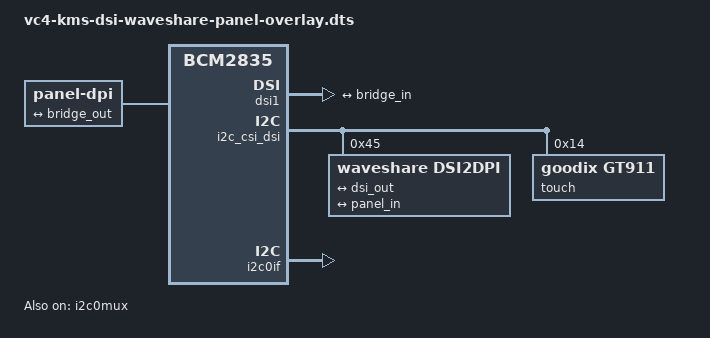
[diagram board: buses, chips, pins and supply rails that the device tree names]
/*
 * Device Tree overlay for Waveshare DSI Touchscreens
 *
 */

/dts-v1/;
/plugin/;

/ {
	compatible = "brcm,bcm2835";

	dsi_frag: fragment@0 {
		target = <&dsi1>;
		__overlay__ {
			#address-cells = <1>;
			#size-cells = <0>;
			status = "okay";
			port {
				dsi_out: endpoint {
					remote-endpoint = <&bridge_in>;
				};
			};
		};
	};

	fragment@1 {
		target-path = "/";
		__overlay__ {
		};
	};

	i2c_frag: fragment@2 {
		target = <&i2c_csi_dsi>;
		__overlay__ {
			#address-cells = <1>;
			#size-cells = <0>;
			status = "okay";

			dsi2dpi: bridge@45 {
				reg = <0x45>;
				compatible = "waveshare,dsi2dpi";

				ports {
					#address-cells = <1>;
					#size-cells = <0>;

					port@0 {
						reg = <0>;
						bridge_in: endpoint {
							remote-endpoint = <&dsi_out>;
							data-lanes = < 1 2 >;
						};
					};
					port@1 {
						reg = <1>;
						bridge_out: endpoint {
							remote-endpoint = <&panel_in>;
						};
					};
				};
			};

			touch: goodix@14 {
				reg = <0x14>;
				compatible = "goodix,gt911";
			};

			touch2: ilitek@41 {
				compatible = "ilitek,ili251x";
				reg = <0x41>;
				status = "disabled";
			};
		};
	};

	fragment@3 {
		target = <&i2c0if>;
		__overlay__ {
			status = "okay";
		};
	};

	fragment@4 {
		target = <&i2c0mux>;
		__overlay__ {
			status = "okay";
		};
	};

	fragment@5 {
		target = <&i2c_arm>;
		__dormant__ {
			status = "okay";
		};
	};

	fragment@6 {
		target-path = "/";
		__overlay__ {
			panel: panel@1 {
				#address-cells = <1>;
				#size-cells = <0>;
				reg = <1>;

				compatible = "panel-dpi";

				//backlight = <&dsi2dpi>;
				// Can't define the backlight as that causes a
				// circular dependency (backlight is required by
				// panel-simple, created by waveshare-dsi2dpi,
				// but dsi2dpi needs to be able to find the
				// panel during probe)
				rotation = <0>;
				bus-format = <0x100a>;

				port {
					panel_in: endpoint {
						remote-endpoint = <&bridge_out>;
					};
				};
			};
		};
	};

	fragment@7 {
		target = <&bridge_in>;
		__dormant__ {
			data-lanes = < 1 2 3 4 >;
		};
	};

	fragment@10 {
		/* 2.8inch 480x640
		 * https://www.waveshare.com/product/raspberry-pi/displays/2.8inch-dsi-lcd.htm
		 */
		target = <&panel>;
		__dormant__ {
			panel-timing {
				clock-frequency = <50000000>;
				hactive = <480>;
				hfront-porch = <150>;
				hsync-len = <50>;
				hback-porch = <150>;
				vactive = <640>;
				vfront-porch = <150>;
				vsync-len = <50>;
				vback-porch = <150>;

				hsync-active = <0>;
				vsync-active = <0>;
				de-active = <1>;
				pixelclk-active = <1>;
			};
		};
	};

	fragment@11 {
		/* 3.4inch 800x800 Round
		 * https://www.waveshare.com/product/displays/lcd-oled/3.4inch-dsi-lcd-c.htm
		 */
		target = <&panel>;
		__dormant__ {
			panel-timing {
				clock-frequency = <50000000>;
				hactive = <800>;
				hfront-porch = <32>;
				hsync-len = <6>;
				hback-porch = <120>;
				vactive = <800>;
				vfront-porch = <8>;
				vsync-len = <4>;
				vback-porch = <16>;

				hsync-active = <0>;
				vsync-active = <0>;
				de-active = <1>;
				pixelclk-active = <1>;
			};
		};
	};

	fragment@12 {
		/* 4.0inch 480x800
		 * https://www.waveshare.com/product/raspberry-pi/displays/4inch-dsi-lcd.htm
		 */
		target = <&panel>;
		__dormant__ {
			panel-timing {
				clock-frequency = <50000000>;
				hactive = <480>;
				hfront-porch = <150>;
				hsync-len = <100>;
				hback-porch = <150>;
				vactive = <800>;
				vfront-porch = <20>;
				vsync-len = <100>;
				vback-porch = <20>;

				hsync-active = <0>;
				vsync-active = <0>;
				de-active = <1>;
				pixelclk-active = <1>;
			};
		};
	};

	fragment@13 {
		/* 7.0inch C 1024x600
		 * https://www.waveshare.com/product/raspberry-pi/displays/lcd-oled/7inch-dsi-lcd-c-with-case-a.htm
		 */
		target = <&panel>;
		__dormant__ {
			panel-timing {
				clock-frequency = <50000000>;
				hactive = <1024>;
				hfront-porch = <100>;
				hsync-len = <100>;
				hback-porch = <100>;
				vactive = <600>;
				vfront-porch = <10>;
				vsync-len = <10>;
				vback-porch = <10>;

				hsync-active = <0>;
				vsync-active = <0>;
				de-active = <1>;
				pixelclk-active = <1>;
			};
		};
	};

	fragment@14 {
		/* 7.9inch 400x1280
		 * https://www.waveshare.com/product/raspberry-pi/displays/7.9inch-dsi-lcd.htm
		 */
		target = <&panel>;
		__dormant__ {
			panel-timing {
				clock-frequency = <50000000>;
				hactive = <400>;
				hfront-porch = <40>;
				hsync-len = <30>;
				hback-porch = <40>;
				vactive = <1280>;
				vfront-porch = <20>;
				vsync-len = <10>;
				vback-porch = <20>;

				hsync-active = <0>;
				vsync-active = <0>;
				de-active = <1>;
				pixelclk-active = <1>;
			};
		};
	};

	fragment@15 {
		/* 8.0inch or 10.1inch 1280x800
		 * https://www.waveshare.com/product/raspberry-pi/displays/8inch-dsi-lcd-c.htm
		 * https://www.waveshare.com/product/raspberry-pi/displays/10.1inch-dsi-lcd-c.htm
		 */
		target = <&panel>;
		__dormant__ {
			panel-timing {
				clock-frequency = <50000000>;
				hactive = <1024>;
				hfront-porch = <100>;
				hsync-len = <100>;
				hback-porch = <100>;
				vactive = <600>;
				vfront-porch = <10>;
				vsync-len = <10>;
				vback-porch = <10>;

				hsync-active = <0>;
				vsync-active = <0>;
				de-active = <1>;
				pixelclk-active = <1>;
			};
		};
	};

	fragment@16 {
		/* 11.9inch 320x1480
		 * https://www.waveshare.com/product/raspberry-pi/displays/11.9inch-dsi-lcd.htm
		 */
		target = <&panel>;
		__dormant__ {
			panel-timing {
				clock-frequency = <50000000>;
				hactive = <320>;
				hfront-porch = <60>;
				hsync-len = <60>;
				hback-porch = <60>;
				vactive = <1480>;
				vfront-porch = <60>;
				vsync-len = <60>;
				vback-porch = <60>;

				hsync-active = <0>;
				vsync-active = <0>;
				de-active = <1>;
				pixelclk-active = <1>;
			};
		};
	};

	fragment@17 {
		target = <&panel>;
		__dormant__ {
			panel-timing {
				clock-frequency = <50000000>;
				hactive = <320>;
				hfront-porch = <60>;
				hsync-len = <60>;
				hback-porch = <60>;
				vactive = <1480>;
				vfront-porch = <60>;
				vsync-len = <60>;
				vback-porch = <60>;

				hsync-active = <0>;
				vsync-active = <0>;
				de-active = <1>;
				pixelclk-active = <1>;
			};
		};
	};

	fragment@18 {
		/* 5.0inch 720x1280
		 * https://www.waveshare.com/5inch-dsi-lcd-d.htm
		 */
		target = <&panel>;
		__dormant__ {
			panel-timing {
				clock-frequency = <83333333>;
				hactive = <720>;
				hfront-porch = <100>;
				hsync-len = <80>;
				hback-porch = <100>;
				vactive = <1480>;
				vfront-porch = <60>;
				vsync-len = <60>;
				vback-porch = <60>;

				hsync-active = <0>;
				vsync-active = <0>;
				de-active = <1>;
				pixelclk-active = <1>;
			};
		};
	};

	fragment@19 {
		/* 6.25inch 720x1560
		 * https://www.waveshare.com/6.25inch-dsi-lcd.htm
		 */
		target = <&panel>;
		__dormant__ {
			panel-timing {
				clock-frequency = <83333333>;
				hactive = <720>;
				hfront-porch = <50>;
				hsync-len = <50>;
				hback-porch = <50>;
				vactive = <1560>;
				vfront-porch = <20>;
				vsync-len = <20>;
				vback-porch = <20>;

				hsync-active = <0>;
				vsync-active = <0>;
				de-active = <1>;
				pixelclk-active = <1>;
			};
		};
	};

	fragment@20 {
		/* 8.8inch 480x1920
		 * https://www.waveshare.com/8.8inch-dsi-lcd.htm
		 */
		target = <&panel>;
		__dormant__ {
			panel-timing {
				clock-frequency = <83333333>;
				hactive = <480>;
				hfront-porch = <50>;
				hsync-len = <50>;
				hback-porch = <50>;
				vactive = <1920>;
				vfront-porch = <20>;
				vsync-len = <20>;
				vback-porch = <20>;

				hsync-active = <0>;
				vsync-active = <0>;
				de-active = <1>;
				pixelclk-active = <1>;
			};
		};
	};

	fragment@21 {
		/* 13.3inch 1920x1080 4 lanes (Pi5 and CMs)
		 * https://www.waveshare.com/13.3inch-dsi-lcd.htm
		 */
		target = <&panel>;
		__dormant__ {
			panel-timing {
				clock-frequency = <148500000>;
				hactive = <1920>;
				hfront-porch = <88>;
				hsync-len = <44>;
				hback-porch = <148>;
				vactive = <1080>;
				vfront-porch = <4>;
				vsync-len = <5>;
				vback-porch = <36>;

				hsync-active = <0>;
				vsync-active = <0>;
				de-active = <1>;
				pixelclk-active = <1>;
			};
		};
	};

	fragment@22 {
		/* 13.3inch 1920x1080 2 lanes (Pi 1-4)
		 * https://www.waveshare.com/13.3inch-dsi-lcd.htm
		 */
		target = <&panel>;
		__dormant__ {
			panel-timing {
				clock-frequency = <83333333>;
				hactive = <1920>;
				hfront-porch = <88>;
				hsync-len = <44>;
				hback-porch = <148>;
				vactive = <1080>;
				vfront-porch = <4>;
				vsync-len = <5>;
				vback-porch = <36>;

				hsync-active = <0>;
				vsync-active = <0>;
				de-active = <1>;
				pixelclk-active = <1>;
			};
		};
	};

	fragment@23 {
		/* 7.0inch 1280x720
		 * https://www.waveshare.com/7inch-dsi-lcd-h.htm
		 */
		target = <&panel>;
		__dormant__ {
			panel-timing {
				clock-frequency = <83333333>;
				hactive = <1280>;
				hfront-porch = <64>;
				hsync-len = <64>;
				hback-porch = <64>;
				vactive = <720>;
				vfront-porch = <64>;
				vsync-len = <64>;
				vback-porch = <64>;

				hsync-active = <0>;
				vsync-active = <0>;
				de-active = <1>;
				pixelclk-active = <1>;
			};
		};
	};

	__overrides__ {
		2_8_inch = <0>,"+10",
				   <&touch>, "touchscreen-size-x:0=480",
				   <&touch>, "touchscreen-size-y:0=640",
				   <&touch>, "touchscreen-inverted-y?",
				   <&touch>, "touchscreen-swapped-x-y?";
		3_4_inch = <0>,"+11",
				   <&touch>, "touchscreen-size-x:0=800",
				   <&touch>, "touchscreen-size-y:0=800";
		4_0_inch = <0>,"+12",
				   <&touch>, "touchscreen-size-x:0=800",
				   <&touch>, "touchscreen-size-y:0=480",
				   <&touch>, "touchscreen-inverted-x?",
				   <&touch>, "touchscreen-swapped-x-y?";
		7_0_inchC = <0>,"+13",
				   <&touch>, "touchscreen-size-x:0=800",
				   <&touch>, "touchscreen-size-y:0=480";
		7_9_inch = <0>,"+14",
				   <&touch>, "touchscreen-size-x:0=4096",
				   <&touch>, "touchscreen-size-y:0=4096",
				   <&touch>, "touchscreen-inverted-x?",
				   <&touch>, "touchscreen-swapped-x-y?";
		8_0_inch = <0>,"+15",
				   <&touch>, "touchscreen-size-x:0=800",
				   <&touch>, "touchscreen-size-y:0=1280",
				   <&touch>, "touchscreen-inverted-x?",
				   <&touch>, "touchscreen-swapped-x-y?";
		10_1_inch = <0>,"+15",
				   <&touch>, "touchscreen-size-x:0=800",
				   <&touch>, "touchscreen-size-y:0=1280",
				   <&touch>, "touchscreen-inverted-x?",
				   <&touch>, "touchscreen-swapped-x-y?";
		11_9_inch = <0>,"+16",
				   <&touch>, "touchscreen-inverted-x?",
				   <&touch>, "touchscreen-swapped-x-y?";
		4_0_inchC = <0>,"+17",
				   <&touch>, "touchscreen-size-x:0=720",
				   <&touch>, "touchscreen-size-y:0=720";
		5_0_inch = <0>,"+18",
				   <&touch>, "touchscreen-inverted-x?",
				   <&touch>, "touchscreen-inverted-y?";
		6_25_inch = <0>,"+19",
				   <&touch>, "touchscreen-inverted-x?",
				   <&touch>, "touchscreen-inverted-y?";
		8_8_inch = <0>,"+20";
		13_3_inch_4lane = <0>,"+21+7",
				  <&touch2>, "status=okay",
				  <&panel>, "compatible=waveshare,13.3inch-panel\0panel-dpi";
		13_3_inch_2lane = <0>,"+22",
				  <&touch2>, "status=okay",
				  <&panel>, "compatible=waveshare,13.3inch-panel\0panel-dpi";
		7_0_inchH = <0>,"+23",
				  <&touch>, "touchscreen-swapped-x-y?",
				  <&touch>, "touchscreen-inverted-x?";

		i2c1 = <&i2c_frag>, "target:0=",<&i2c1>,
		       <0>, "-3-4+5";
		disable_touch = <&touch>, "status=disabled";
		rotation = <&panel>, "rotation:0";
		invx = <&touch>,"touchscreen-inverted-x?";
		invy = <&touch>,"touchscreen-inverted-y?";
		swapxy = <&touch>,"touchscreen-swapped-x-y?";
		dsi0 = <&panel>, "reg:0=0",
		       <&dsi_frag>, "target:0=",<&dsi0>,
		       <&i2c_frag>, "target:0=",<&i2c_csi_dsi0>;
	};
};
